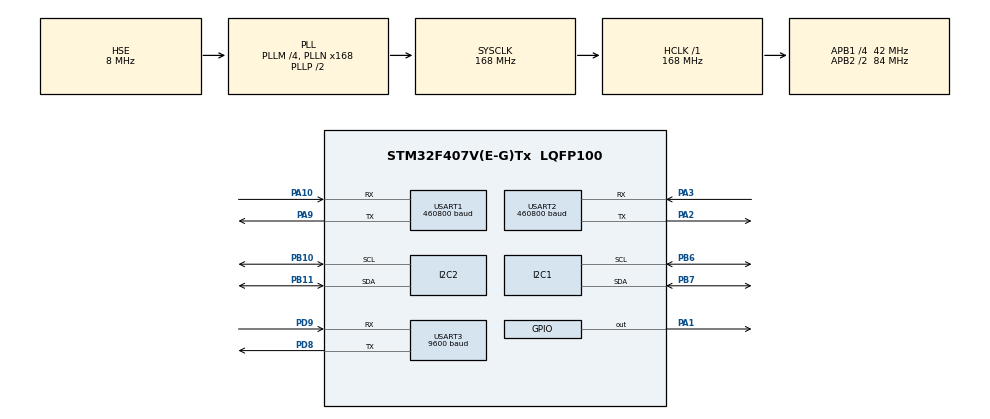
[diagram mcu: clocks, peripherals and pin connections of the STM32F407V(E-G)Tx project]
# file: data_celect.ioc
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Dma.Request0=USART2_RX
Dma.Request1=USART1_RX
Dma.USART1_RX.1.Direction=DMA_PERIPH_TO_MEMORY
Dma.USART1_RX.1.FIFOMode=DMA_FIFOMODE_DISABLE
Dma.USART1_RX.1.Instance=DMA2_Stream2
Dma.USART1_RX.1.MemDataAlignment=DMA_MDATAALIGN_BYTE
Dma.USART1_RX.1.MemInc=DMA_MINC_ENABLE
Dma.USART1_RX.1.Mode=DMA_CIRCULAR
Dma.USART1_RX.1.PeriphDataAlignment=DMA_PDATAALIGN_BYTE
Dma.USART1_RX.1.PeriphInc=DMA_PINC_DISABLE
Dma.USART1_RX.1.Priority=DMA_PRIORITY_MEDIUM
Dma.USART2_RX.0.Direction=DMA_PERIPH_TO_MEMORY
Dma.USART2_RX.0.FIFOMode=DMA_FIFOMODE_DISABLE
Dma.USART2_RX.0.Instance=DMA1_Stream5
Dma.USART2_RX.0.MemDataAlignment=DMA_MDATAALIGN_BYTE
Dma.USART2_RX.0.MemInc=DMA_MINC_ENABLE
Dma.USART2_RX.0.Mode=DMA_NORMAL
Dma.USART2_RX.0.PeriphDataAlignment=DMA_PDATAALIGN_BYTE
Dma.USART2_RX.0.PeriphInc=DMA_PINC_DISABLE
Dma.USART2_RX.0.Priority=DMA_PRIORITY_HIGH
Mcu.Family=STM32F4
Mcu.Name=STM32F407V(E-G)Tx
Mcu.Package=LQFP100
NVIC.DMA1_Stream5_IRQn=true\:0\:0\:false\:false\:true\:false\:true\:true
NVIC.DMA2_Stream2_IRQn=true\:0\:0\:false\:false\:true\:false\:true\:true
NVIC.PriorityGroup=NVIC_PRIORITYGROUP_4
NVIC.USART2_IRQn=true\:0\:0\:false\:false\:true\:true\:true\:true
PA1.Signal=GPIO_Output
PA10.Mode=Asynchronous
PA10.Signal=USART1_RX
PA13.Mode=Serial_Wire
PA13.Signal=SYS_JTMS-SWDIO
PA14.Mode=Serial_Wire
PA14.Signal=SYS_JTCK-SWCLK
PA2.Mode=Asynchronous
PA2.Signal=USART2_TX
PA3.Mode=Asynchronous
PA3.Signal=USART2_RX
PA9.Mode=Asynchronous
PA9.Signal=USART1_TX
PB10.Mode=I2C
PB10.Signal=I2C2_SCL
PB11.Mode=I2C
PB11.Signal=I2C2_SDA
PB6.Mode=I2C
PB6.Signal=I2C1_SCL
PB7.Mode=I2C
PB7.Signal=I2C1_SDA
PD8.Mode=Asynchronous
PD8.Signal=USART3_TX
PD9.Mode=Asynchronous
PD9.Signal=USART3_RX
PH0-OSC_IN.Mode=HSE-External-Oscillator
PH0-OSC_IN.Signal=RCC_OSC_IN
PH1-OSC_OUT.Mode=HSE-External-Oscillator
PH1-OSC_OUT.Signal=RCC_OSC_OUT
ProjectManager.HeapSize=0x200
ProjectManager.StackSize=0x400
ProjectManager.TargetToolchain=STM32CubeIDE
RCC.48MHZClocksFreq_Value=84000000
RCC.AHBFreq_Value=168000000
RCC.APB1CLKDivider=RCC_HCLK_DIV4
RCC.APB1Freq_Value=42000000
RCC.APB1TimFreq_Value=84000000
RCC.APB2CLKDivider=RCC_HCLK_DIV2
RCC.APB2Freq_Value=84000000
RCC.APB2TimFreq_Value=168000000
RCC.CortexFreq_Value=168000000
RCC.HCLKFreq_Value=168000000
RCC.HSE_VALUE=8000000
RCC.HSI_VALUE=16000000
RCC.LSE_VALUE=32768
RCC.PLLM=4
RCC.PLLN=168
RCC.PLLSourceVirtual=RCC_PLLSOURCE_HSE
RCC.SYSCLKFreq_VALUE=168000000
RCC.SYSCLKSource=RCC_SYSCLKSOURCE_PLLCLK
RCC.VCOOutputFreq_Value=336000000
USART1.BaudRate=460800
USART1.VirtualMode=VM_ASYNC
USART2.BaudRate=460800
USART2.VirtualMode=VM_ASYNC
USART3.BaudRate=9600
USART3.VirtualMode=VM_ASYNC
board=custom

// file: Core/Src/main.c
/* USER CODE BEGIN Header */
/**
  ******************************************************************************
  * @file           : main.c
  * @brief          : Main program body
  ******************************************************************************
  * @attention
  *
  * Copyright (c) 2026 STMicroelectronics.
  * All rights reserved.
  *
  * This software is licensed under terms that can be found in the LICENSE file
  * in the root directory of this software component.
  * If no LICENSE file comes with this software, it is provided AS-IS.
  *
  ******************************************************************************
  */
/* USER CODE END Header */
#include "main.h"

/* USER CODE BEGIN Includes */
#include "arm_angle.h"
#include "collection_timing.h"
#include "control_command.h"
#include "control_mode_supervisor.h"
#include "dwj_reader.h"
#include "ftepc_rs485.h"
#include "imu_oled_format.h"
#include "imu_parser.h"
#include "joystick_servo_map.h"
#include "motion_telemetry.h"
#include "oled_ssd1306.h"
#include "pca9685.h"
#include "safety_limits.h"
#include "stick_receiver.h"
#include "status_led.h"
#include "velocity_control.h"

#include <math.h>
#include <stdio.h>
#include <string.h>

/* USER CODE END Includes */

/* USER CODE BEGIN PTD */
typedef enum
{
  RS485_IDLE = 0,
  RS485_TX_BUSY,
  RS485_RX_BUSY
} Rs485PollState;

typedef enum
{
  DWJ_IDLE = 0,
  DWJ_WAIT_BIG_ARM,
  DWJ_WAIT_SMALL_ARM
} DwjPollState;

/* USER CODE END PTD */

/* USER CODE BEGIN PD */
#define USART2_DMA_RX_SIZE 512U
#define IMU_DMA_RX_SIZE 8192U
/* Receive-age deadline, not a mechanical angle or velocity limit. */
#define IMU_RECEIVE_TIMEOUT_MS 500U
#define ENCODER485_SLAVE_ADDRESS 1U
#define ENCODER485_TIMEOUT_MS 50U
#define ENCODER485_REQUEST_LEN 8U
#define ENCODER485_RESPONSE_LEN 17U
#define ENCODER485_PULSE_START_REGISTER 0x0030U
#define ENCODER485_THREE_PULSE_REGISTERS 0x0006U
#define ENCODER485_FUNCTION_READ_HOLDING 0x03U
#define OLED_UPDATE_PERIOD_MS 500U
#define OLED_PAGE_PERIOD_MS 1500U
#define OLED_PAGE_COUNT 2U
#define OLED_LINE_SIZE 22U
#define TELEMETRY_BUFFER_SIZE 1024U
#define DWJ_POLL_PERIOD_MS 50U
#define TELEMETRY_FAULT_RS485 (1UL << 0)
#define TELEMETRY_FAULT_DWJ (1UL << 1)
#define TELEMETRY_FAULT_IMU (1UL << 2)
#define TELEMETRY_FAULT_PCA9685 (1UL << 3)
#define TELEMETRY_FAULT_COMMAND_TIMEOUT (1UL << 4)

/* USER CODE END PD */

I2C_HandleTypeDef hi2c1;
I2C_HandleTypeDef hi2c2;

UART_HandleTypeDef huart1;
UART_HandleTypeDef huart2;
UART_HandleTypeDef huart3;
DMA_HandleTypeDef hdma_usart1_rx;
DMA_HandleTypeDef hdma_usart2_rx;

/* USER CODE BEGIN PV */
static uint8_t usart2_dma_rx[USART2_DMA_RX_SIZE];
static uint8_t imu_dma_rx[IMU_DMA_RX_SIZE];
static uint16_t imu_dma_last_pos;
static StickReceiver stick_receiver;
static ControlCommand latest_control_command;
static ControlModeSupervisor control_mode_supervisor;
static VelocityControl velocity_controller;
static VelocityControlOutput velocity_output;
static uint32_t manual_limit_mask;
static uint8_t velocity_feedback_ready;
static uint8_t control_command_active;
static volatile uint8_t usart2_restart_requested;
static StatusLedTimer status_led_timer;
static JoystickServoTargets servo_targets;
static uint32_t last_valid_control_tick;
static uint32_t last_control_tick;
static uint32_t control_seq;
static uint32_t command_rx_seq;
static uint32_t command_source_stamp_ms;
static uint32_t command_received_stamp_ms;
static uint32_t invalid_command_frames;
static uint8_t control_received;
static uint8_t control_failsafe_active;
static uint8_t pca9685_ready;
static uint8_t pca_output_ok;
static ImuParser imu_parser;
static ImuSample imu_latest;
static uint8_t imu_sample_valid;
static float imu_yaw_deg;
static float imu_yaw_rate_deg_s;
static uint64_t imu_last_ts_ms;
static uint8_t imu_yaw_time_valid;
static uint32_t imu_last_received_tick;
static Ftepc485_Data encoder_data;
static Ftepc485_Status encoder_status = FTEPC485_ERROR_UART;
static int32_t encoder_last_pulse[FTEPC485_CHANNEL_COUNT];
static uint32_t encoder_last_sample_tick;
static uint8_t encoder_has_last_sample;
static int32_t small_arm_angle_hundredths_deg;
static uint8_t rs485_request[ENCODER485_REQUEST_LEN];
static uint8_t rs485_response[ENCODER485_RESPONSE_LEN];
static Rs485PollState rs485_state;
static uint32_t rs485_state_tick;
static uint32_t last_encoder_poll_tick;
static uint8_t oled_ready;
static uint8_t oled_page;
static uint8_t oled_refresh_page;
static uint32_t last_oled_update_tick;
static uint32_t last_oled_page_tick;
static MotionTelemetry motion_telemetry;
static char telemetry_tx_buffer[TELEMETRY_BUFFER_SIZE];
static uint8_t telemetry_header_sent;
static volatile uint8_t telemetry_tx_busy;
static uint32_t last_telemetry_tick;
static volatile uint32_t sensor_seq;
static volatile uint32_t sensor_stamp_ms;
static uint32_t last_sent_sensor_seq;
static DwjReadings dwj_readings;
static HAL_StatusTypeDef dwj_status = HAL_ERROR;
static DwjPollState dwj_state;
static uint32_t dwj_state_tick;
static uint32_t last_dwj_poll_tick;

/* USER CODE END PV */

void SystemClock_Config(void);
static void MX_GPIO_Init(void);
static void MX_DMA_Init(void);
static void MX_USART2_UART_Init(void);
static void MX_USART3_UART_Init(void);
static void MX_I2C1_Init(void);
static void MX_USART1_UART_Init(void);
static void MX_I2C2_Init(void);
/* USER CODE BEGIN PFP */
static HAL_StatusTypeDef USART2_StartReceiveToIdle(void);
static HAL_StatusTypeDef ApplyServoTargets(const JoystickServoTargets *targets);
static void EnterSafeZero(void);
static void ProcessReceivedFrames(void);
static void ServiceControl20Hz(void);
static void Imu_RxStart(void);
static void Imu_UpdateYawFromSample(void);
static void ServiceImu(void);
static void ServiceEncoder485(void);
static void ServiceDwjReader(void);
static void ServiceOled(void);
static void ServiceTelemetry(void);
static void Rs485_StartPoll(uint32_t now_ms);
static void Rs485_HandleResponse(uint32_t now_ms);
static void FormatFixedHundredths(int32_t value, char *buffer,
                                  size_t buffer_size);
static void FillMotionTelemetry(MotionTelemetry *telemetry, uint32_t now_ms);

/* USER CODE END PFP */

/* USER CODE BEGIN 0 */
static HAL_StatusTypeDef USART2_StartReceiveToIdle(void)
{
  HAL_StatusTypeDef status;

  status = HAL_UARTEx_ReceiveToIdle_DMA(&huart2, usart2_dma_rx,
                                       sizeof(usart2_dma_rx));
  if (status == HAL_OK)
  {
    /* A complete frame is detected by IDLE or DMA transfer-complete. */
    __HAL_DMA_DISABLE_IT(huart2.hdmarx, DMA_IT_HT);
  }
  return status;
}

static HAL_StatusTypeDef ApplyServoTargets(const JoystickServoTargets *targets)
{
  uint8_t channel;

  if (targets == NULL)
  {
    return HAL_ERROR;
  }

  if (pca9685_ready == 0U)
  {
    if (Pca9685_Init(&hi2c1) != HAL_OK)
    {
      return HAL_ERROR;
    }
    pca9685_ready = 1U;
  }

  for (channel = 0U; channel < JOYSTICK_PCA_CHANNEL_COUNT; ++channel)
  {
    if (!JoystickServoMap_IsActiveChannel(channel))
    {
      continue;
    }
    if (Pca9685_SetPwm(&hi2c1, channel, 0U,
                       targets->pwm_count[channel]) != HAL_OK)
    {
      pca9685_ready = 0U;
      return HAL_ERROR;
    }
  }
  return HAL_OK;
}

static void EnterSafeZero(void)
{
  ControlModeSupervisor_EnterSafeZero(&control_mode_supervisor);
  VelocityControl_Reset(&velocity_controller);
  memset(&velocity_output, 0, sizeof(velocity_output));
  velocity_feedback_ready = 0U;
  manual_limit_mask = 0U;
  control_command_active = 0U;
  control_failsafe_active = 0U;
}

static uint8_t ControlCommandIsValid(uint32_t now_ms)
{
  return ((control_command_active != 0U) &&
          !JoystickServoMap_IsTimedOut(now_ms, last_valid_control_tick))
             ? 1U
             : 0U;
}

static void ProcessReceivedFrames(void)
{
  char frame[STICK_FRAME_MAX_LEN];
  ControlCommand parsed_command;

  while (StickReceiver_Pop(&stick_receiver, frame, sizeof(frame)))
  {
    if (ControlCommand_ParseJson(frame, &parsed_command))
    {
      uint32_t now_ms = HAL_GetTick();
      ControlModeDecision decision;

      if (!StickReceiver_IsNewSequence(parsed_command.command_seq,
                                       command_rx_seq,
                                       control_received != 0U))
      {
        invalid_command_frames++;
        EnterSafeZero();
        continue;
      }

      decision = ControlModeSupervisor_Apply(&control_mode_supervisor,
                                             &parsed_command);
      if (!decision.accepted)
      {
        invalid_command_frames++;
        EnterSafeZero();
        continue;
      }

      if (decision.mode_changed)
      {
        VelocityControl_Reset(&velocity_controller);
        memset(&velocity_output, 0, sizeof(velocity_output));
        manual_limit_mask = 0U;
      }
      latest_control_command = parsed_command;
      command_rx_seq = parsed_command.command_seq;
      command_source_stamp_ms = parsed_command.command_source_stamp_ms;
      command_received_stamp_ms = now_ms;
      last_valid_control_tick = now_ms;
      control_received = 1U;
      control_command_active = 1U;
    }
    else
    {
      invalid_command_frames++;
      EnterSafeZero();
    }
  }
}

static void ServiceControl20Hz(void)
{
  uint32_t now_ms = HAL_GetTick();
  uint32_t elapsed_ms;
  HAL_StatusTypeDef i2c_status;
  uint8_t command_valid;

  if ((uint32_t)(now_ms - last_control_tick) <
      COLLECTION_CONTROL_PERIOD_MS)
  {
    return;
  }
  elapsed_ms = (uint32_t)(now_ms - last_control_tick);
  last_control_tick = now_ms;
  control_seq++;
  command_valid = ControlCommandIsValid(now_ms);
  velocity_feedback_ready = 0U;
  manual_limit_mask = 0U;

  if ((command_valid != 0U) &&
      (control_mode_supervisor.active_mode == CONTROL_MODE_MANUAL_ACTION) &&
      (ControlCommand_IsZero(&latest_control_command) ||
       ((encoder_status == FTEPC485_OK) && (imu_sample_valid != 0U))))
  {
    AxisControlSample manual_action = {
        latest_control_command.axis.swing,
        latest_control_command.axis.bucket,
        latest_control_command.axis.stick,
        latest_control_command.axis.boom};

    if (!ControlCommand_IsZero(&latest_control_command))
    {
      SafetyLimitsFeedback limits_feedback;

      limits_feedback.boom_length_hundredths_mm =
          encoder_data.length_hundredths_mm[0];
      limits_feedback.stick_length_hundredths_mm =
          encoder_data.length_hundredths_mm[1];
      limits_feedback.bucket_length_hundredths_mm =
          encoder_data.length_hundredths_mm[2];
      limits_feedback.yaw_deg = imu_yaw_deg;
      manual_limit_mask = SafetyLimits_ApplyManual(&manual_action, &limits_feedback);
    }
    JoystickServoMap_Compute(manual_action.x1, manual_action.x2,
                             manual_action.y1, manual_action.y2,
                             latest_control_command.manual_z1,
                             latest_control_command.manual_z2,
                             &servo_targets);
    i2c_status = ApplyServoTargets(&servo_targets);
    control_failsafe_active = 0U;
  }
  else if ((command_valid != 0U) &&
           (control_mode_supervisor.active_mode ==
            CONTROL_MODE_VELOCITY_REFERENCE) &&
           (encoder_status == FTEPC485_OK) &&
           (imu_sample_valid != 0U))
  {
    VelocityControlFeedback feedback;

    feedback.boom_length_hundredths_mm =
        encoder_data.length_hundredths_mm[0];
    feedback.stick_length_hundredths_mm =
        encoder_data.length_hundredths_mm[1];
    feedback.bucket_length_hundredths_mm =
        encoder_data.length_hundredths_mm[2];
    feedback.boom_speed_hundredths_mm_s =
        encoder_data.speed_hundredths_mm_s[0];
    feedback.stick_speed_hundredths_mm_s =
        encoder_data.speed_hundredths_mm_s[1];
    feedback.bucket_speed_hundredths_mm_s =
        encoder_data.speed_hundredths_mm_s[2];
    feedback.swing_angle_deg = imu_yaw_deg;
    feedback.swing_speed_deg_s = imu_yaw_rate_deg_s;

    if (VelocityControl_Update(&velocity_controller,
                               &latest_control_command.axis,
                               &feedback,
                               (float)elapsed_ms / 1000.0f,
                               &velocity_output))
    {
      VelocityServoMap_Compute(velocity_output.valve_action.boom,
                               velocity_output.valve_action.stick,
                               velocity_output.valve_action.bucket,
                               velocity_output.valve_action.swing, &servo_targets);
      i2c_status = ApplyServoTargets(&servo_targets);
      velocity_feedback_ready = 1U;
      control_failsafe_active = 0U;
    }
    else
    {
      VelocityControl_Reset(&velocity_controller);
      JoystickServoMap_SetNeutral(&servo_targets);
      i2c_status = ApplyServoTargets(&servo_targets);
      control_failsafe_active = 1U;
    }
  }
  /* A failed neutral write must be retried; PCA retains its previous PWM. */
  else if ((control_failsafe_active == 0U) || (pca_output_ok == 0U))
  {
    if (command_valid == 0U)
    {
      ControlModeSupervisor_EnterSafeZero(&control_mode_supervisor);
    }
    VelocityControl_Reset(&velocity_controller);
    memset(&velocity_output, 0, sizeof(velocity_output));
    JoystickServoMap_SetNeutral(&servo_targets);
    i2c_status = ApplyServoTargets(&servo_targets);
    control_failsafe_active = 1U;
  }
  else
  {
    i2c_status = (pca_output_ok != 0U) ? HAL_OK : HAL_ERROR;
  }
  pca_output_ok = (i2c_status == HAL_OK) ? 1U : 0U;
}

static void Imu_NormalizeYaw(void)
{
  /* Constant-time reduction also handles large finite corrupted samples. */
  imu_yaw_deg = fmodf(imu_yaw_deg, 360.0f);
  if (imu_yaw_deg < 0.0f)
  {
    imu_yaw_deg += 360.0f;
  }
}

static void Imu_UpdateYawFromSample(void)
{
  imu_yaw_rate_deg_s = imu_latest.gz;

  if (imu_yaw_time_valid != 0U)
  {
    uint64_t elapsed_ms = imu_latest.ts_ms - imu_last_ts_ms;

    if ((imu_latest.ts_ms > imu_last_ts_ms) && (elapsed_ms < 1000U))
    {
      float next_yaw = imu_yaw_deg +
                       imu_yaw_rate_deg_s * ((float)elapsed_ms / 1000.0f);
      if (!isfinite(next_yaw))
      {
        imu_sample_valid = 0U;
        imu_yaw_time_valid = 0U;
        imu_yaw_rate_deg_s = 0.0f;
        return;
      }
      imu_yaw_deg = next_yaw;
      Imu_NormalizeYaw();
    }
  }

  imu_last_ts_ms = imu_latest.ts_ms;
  imu_yaw_time_valid = 1U;
}

static void Imu_RxStart(void)
{
  imu_sample_valid = 0U;
  imu_yaw_deg = 0.0f;
  imu_yaw_rate_deg_s = 0.0f;
  imu_last_ts_ms = 0U;
  imu_yaw_time_valid = 0U;
  imu_last_received_tick = HAL_GetTick();
  imu_dma_last_pos = 0U;
  imu_parser_init(&imu_parser);

  if (HAL_UART_Receive_DMA(&huart1, imu_dma_rx, sizeof(imu_dma_rx)) == HAL_OK)
  {
    __HAL_DMA_DISABLE_IT(huart1.hdmarx, DMA_IT_HT);
    __HAL_DMA_DISABLE_IT(huart1.hdmarx, DMA_IT_TC);
  }
}

static void Imu_FeedBytes(const uint8_t *data, uint16_t length)
{
  if ((data == NULL) || (length == 0U))
  {
    return;
  }

  if (imu_parser_feed(&imu_parser, data, length, &imu_latest) != 0U)
  {
    if (!isfinite(imu_latest.gz))
    {
      imu_sample_valid = 0U;
      imu_yaw_time_valid = 0U;
      imu_yaw_rate_deg_s = 0.0f;
      return;
    }
    imu_sample_valid = 1U;
    Imu_UpdateYawFromSample();
    if (imu_sample_valid != 0U)
    {
      imu_last_received_tick = HAL_GetTick();
    }
  }
}

static void ServiceImu(void)
{
  uint16_t current_pos;

  if ((imu_sample_valid != 0U) &&
      ((uint32_t)(HAL_GetTick() - imu_last_received_tick) >=
       IMU_RECEIVE_TIMEOUT_MS))
  {
    imu_sample_valid = 0U;
    imu_yaw_time_valid = 0U;
    imu_yaw_rate_deg_s = 0.0f;
    /* Keep accumulated yaw; do not integrate across the missing interval. */
  }
  if (huart1.hdmarx == NULL)
  {
    return;
  }

  current_pos = (uint16_t)(sizeof(imu_dma_rx) -
                           __HAL_DMA_GET_COUNTER(huart1.hdmarx));
  if (current_pos == imu_dma_last_pos)
  {
    return;
  }

  if (current_pos > imu_dma_last_pos)
  {
    Imu_FeedBytes(&imu_dma_rx[imu_dma_last_pos],
                  (uint16_t)(current_pos - imu_dma_last_pos));
  }
  else
  {
    Imu_FeedBytes(&imu_dma_rx[imu_dma_last_pos],
                  (uint16_t)(sizeof(imu_dma_rx) - imu_dma_last_pos));
    if (current_pos > 0U)
    {
      Imu_FeedBytes(imu_dma_rx, current_pos);
    }
  }

  imu_dma_last_pos = current_pos;
}

static void FormatFixedHundredths(int32_t value, char *buffer,
                                  size_t buffer_size)
{
  uint32_t magnitude;
  const char *sign;

  if (buffer_size == 0U)
  {
    return;
  }

  if (value < 0)
  {
    sign = "-";
    magnitude = (uint32_t)(-(value + 1)) + 1U;
  }
  else
  {
    sign = "";
    magnitude = (uint32_t)value;
  }

  (void)snprintf(buffer, buffer_size, "%s%lu.%02lu", sign,
                 (unsigned long)(magnitude / 100U),
                 (unsigned long)(magnitude % 100U));
}

static void FormatFixedTenths(int32_t value, char *buffer, size_t buffer_size)
{
  uint32_t magnitude;
  const char *sign;

  if (buffer_size == 0U)
  {
    return;
  }

  if (value < 0)
  {
    sign = "-";
    magnitude = (uint32_t)(-(value + 1)) + 1U;
  }
  else
  {
    sign = "";
    magnitude = (uint32_t)value;
  }

  (void)snprintf(buffer, buffer_size, "%s%lu.%01lu", sign,
                 (unsigned long)(magnitude / 10U),
                 (unsigned long)(magnitude % 10U));
}

static void OledWriteFixedRow(uint8_t row,
                              const char *prefix,
                              int32_t value,
                              const char *suffix)
{
  char value_text[18];
  char line[OLED_LINE_SIZE];

  FormatFixedHundredths(value, value_text, sizeof(value_text));
  (void)snprintf(line, sizeof(line), "%s%s%s",
                 prefix, value_text, suffix);
  OledSsd1306_WriteText(row, 0, line);
}

static void OledWriteTenthsRow(uint8_t row,
                               const char *prefix,
                               int32_t value,
                               const char *suffix)
{
  char value_text[18];
  char line[OLED_LINE_SIZE];

  FormatFixedTenths(value, value_text, sizeof(value_text));
  (void)snprintf(line, sizeof(line), "%s%s%s",
                 prefix, value_text, suffix);
  OledSsd1306_WriteText(row, 0, line);
}

static void OledWriteLengthSpeedPage(void)
{
  OledSsd1306_WriteText(0, 0, "LEN mm");
  OledWriteFixedRow(1U, "B:", encoder_data.length_hundredths_mm[0], "");
  OledWriteFixedRow(2U, "S:", encoder_data.length_hundredths_mm[1], "");
  OledWriteFixedRow(3U, "K:", encoder_data.length_hundredths_mm[2], "");
  OledSsd1306_WriteText(4U, 0, "SPD mm/s");
  OledWriteFixedRow(5U, "B:", encoder_data.speed_hundredths_mm_s[0], "");
  OledWriteFixedRow(6U, "S:", encoder_data.speed_hundredths_mm_s[1], "");
  OledWriteFixedRow(7U, "K:", encoder_data.speed_hundredths_mm_s[2], "");
}

static void OledWriteAngleImuPage(void)
{
  char line[OLED_LINE_SIZE];

  OledSsd1306_WriteText(0, 0, "ANG deg");
  OledWriteTenthsRow(1U, "B:", dwj_readings.big_arm.angle_tenths_deg, "");
  OledWriteFixedRow(2U, "S:", small_arm_angle_hundredths_deg, "");
  OledWriteTenthsRow(3U, "K:", dwj_readings.bucket.angle_tenths_deg, "");

  if (imu_sample_valid == 0U)
  {
    OledSsd1306_WriteText(4U, 0, "yaw: --");
    OledSsd1306_WriteText(5U, 0, "rate: --");
  }
  else
  {
    imu_oled_format_row(line, sizeof(line), "yaw", imu_yaw_deg);
    OledSsd1306_WriteText(4U, 0, line);
    imu_oled_format_row(line, sizeof(line), "rate", imu_yaw_rate_deg_s);
    OledSsd1306_WriteText(5U, 0, line);
  }

  (void)snprintf(line, sizeof(line), "R:%u A:%u I:%u",
                 (unsigned int)((encoder_status == FTEPC485_OK) ? 1U : 0U),
                 (unsigned int)((dwj_status == HAL_OK) ? 1U : 0U),
                 (unsigned int)((imu_sample_valid != 0U) ? 1U : 0U));
  OledSsd1306_WriteText(6U, 0, line);
  (void)snprintf(line, sizeof(line), "B:%ld K:%ldmV",
                 (long)dwj_readings.big_arm.mv,
                 (long)dwj_readings.bucket.mv);
  OledSsd1306_WriteText(7U, 0, line);
}

static void Rs485_BuildReadRequest(void)
{
  uint16_t crc;

  rs485_request[0] = ENCODER485_SLAVE_ADDRESS;
  rs485_request[1] = ENCODER485_FUNCTION_READ_HOLDING;
  rs485_request[2] = (uint8_t)(ENCODER485_PULSE_START_REGISTER >> 8);
  rs485_request[3] = (uint8_t)ENCODER485_PULSE_START_REGISTER;
  rs485_request[4] = (uint8_t)(ENCODER485_THREE_PULSE_REGISTERS >> 8);
  rs485_request[5] = (uint8_t)ENCODER485_THREE_PULSE_REGISTERS;
  crc = Ftepc485_Crc16(rs485_request, 6U);
  rs485_request[6] = (uint8_t)crc;
  rs485_request[7] = (uint8_t)(crc >> 8);
}

static void Rs485_StartPoll(uint32_t now_ms)
{
  if (rs485_state != RS485_IDLE)
  {
    return;
  }

  Rs485_BuildReadRequest();
  if (HAL_UART_Transmit_IT(&huart3, rs485_request,
                           sizeof(rs485_request)) == HAL_OK)
  {
    rs485_state = RS485_TX_BUSY;
    rs485_state_tick = now_ms;
  }
  else
  {
    encoder_status = FTEPC485_ERROR_UART;
  }
}

static void Rs485_ApplyPulses(const int32_t pulses[FTEPC485_CHANNEL_COUNT],
                              uint32_t now_ms)
{
  Ftepc485_ConvertPulses(pulses, &encoder_data);

  if (encoder_has_last_sample == 0U)
  {
    for (uint8_t channel = 0U; channel < FTEPC485_CHANNEL_COUNT; ++channel)
    {
      encoder_data.speed_hundredths_mm_s[channel] = 0;
      encoder_last_pulse[channel] = pulses[channel];
    }
    encoder_last_sample_tick = now_ms;
    encoder_has_last_sample = 1U;
  }
  else
  {
    uint32_t delta_ms = now_ms - encoder_last_sample_tick;
    if (delta_ms == 0U)
    {
      delta_ms = 1U;
    }

    for (uint8_t channel = 0U; channel < FTEPC485_CHANNEL_COUNT; ++channel)
    {
      int32_t delta_pulse = pulses[channel] - encoder_last_pulse[channel];
      encoder_data.speed_hundredths_mm_s[channel] =
          Ftepc485_DeltaToSpeedHundredthsMmS(channel,
                                             delta_pulse,
                                             delta_ms);
      encoder_last_pulse[channel] = pulses[channel];
    }
    encoder_last_sample_tick = now_ms;
  }

  small_arm_angle_hundredths_deg =
      ArmAngle_Channel2HundredthsDeg(encoder_data.length_hundredths_mm[1]);
}

static void Rs485_HandleResponse(uint32_t now_ms)
{
  int32_t pulses[FTEPC485_CHANNEL_COUNT];

  encoder_status = Ftepc485_ParseThreePulseResponse(
      rs485_response,
      sizeof(rs485_response),
      ENCODER485_SLAVE_ADDRESS,
      pulses);
  if (encoder_status == FTEPC485_OK)
  {
    Rs485_ApplyPulses(pulses, now_ms);
    sensor_stamp_ms = now_ms;
    sensor_seq++;
  }
}

static void ServiceEncoder485(void)
{
  uint32_t now_ms = HAL_GetTick();

  if ((rs485_state != RS485_IDLE) &&
      ((uint32_t)(now_ms - rs485_state_tick) >= ENCODER485_TIMEOUT_MS))
  {
    (void)HAL_UART_Abort(&huart3);
    rs485_state = RS485_IDLE;
    encoder_status = FTEPC485_ERROR_UART;
  }

  if ((uint32_t)(now_ms - last_encoder_poll_tick) >=
      COLLECTION_SENSOR_PERIOD_MS)
  {
    last_encoder_poll_tick = now_ms;
    Rs485_StartPoll(now_ms);
  }
}

static void ServiceDwjReader(void)
{
  uint32_t now_ms = HAL_GetTick();
  int16_t raw;
  int32_t mv;
  HAL_StatusTypeDef read_status;

  if (dwj_state == DWJ_IDLE)
  {
    if ((uint32_t)(now_ms - last_dwj_poll_tick) < DWJ_POLL_PERIOD_MS)
    {
      return;
    }

    last_dwj_poll_tick = now_ms;
    if (Dwj_StartConversion(&hi2c1, DWJ_ADS1115_CHANNEL_AIN0) == HAL_OK)
    {
      dwj_state = DWJ_WAIT_BIG_ARM;
      dwj_state_tick = HAL_GetTick();
    }
    else
    {
      dwj_status = HAL_ERROR;
    }
    return;
  }

  if ((uint32_t)(now_ms - dwj_state_tick) < DWJ_ADS1115_CONVERSION_DELAY_MS)
  {
    return;
  }

  if ((uint32_t)(now_ms - dwj_state_tick) >= DWJ_ADS1115_CONVERSION_TIMEOUT_MS)
  {
    dwj_status = HAL_ERROR;
    dwj_state = DWJ_IDLE;
    return;
  }

  read_status = Dwj_ReadConversionRawMv(&hi2c1,
      dwj_state == DWJ_WAIT_BIG_ARM ? DWJ_ADS1115_CHANNEL_AIN0 : DWJ_ADS1115_CHANNEL_AIN1,
      &raw, &mv);
  if ((uint32_t)(HAL_GetTick() - dwj_state_tick) >= DWJ_ADS1115_CONVERSION_TIMEOUT_MS)
  {
    read_status = HAL_ERROR;
  }
  if (read_status == HAL_BUSY) { return; }

  if (dwj_state == DWJ_WAIT_BIG_ARM)
  {
    if (read_status != HAL_OK)
    {
      dwj_state = DWJ_IDLE;
      dwj_status = HAL_ERROR;
      return;
    }

    Dwj_UpdateBigArmReading(raw, mv, &dwj_readings.big_arm);
    if (Dwj_StartConversion(&hi2c1, DWJ_ADS1115_CHANNEL_AIN1) == HAL_OK)
    {
      dwj_state = DWJ_WAIT_SMALL_ARM;
      dwj_state_tick = HAL_GetTick();
    }
    else
    {
      dwj_state = DWJ_IDLE;
      dwj_status = HAL_ERROR;
    }
    return;
  }

  if (dwj_state == DWJ_WAIT_SMALL_ARM)
  {
    if (read_status == HAL_OK)
    {
      Dwj_UpdateBucketReading(raw, mv, &dwj_readings.bucket);
      dwj_status = HAL_OK;
    }
    else
    {
      dwj_status = HAL_ERROR;
    }
    dwj_state = DWJ_IDLE;
  }
}

static void ServiceOled(void)
{
  uint32_t now_ms = HAL_GetTick();

  if (oled_ready == 0U)
  {
    return;
  }

  if ((uint32_t)(now_ms - last_oled_page_tick) >= OLED_PAGE_PERIOD_MS)
  {
    last_oled_page_tick = now_ms;
    oled_page = (uint8_t)((oled_page + 1U) % OLED_PAGE_COUNT);
  }

  if (oled_refresh_page >= OLED_SSD1306_ROWS)
  {
    if ((uint32_t)(now_ms - last_oled_update_tick) < OLED_UPDATE_PERIOD_MS)
    {
      return;
    }
    last_oled_update_tick = now_ms;

    OledSsd1306_Clear();
    if (oled_page == 0U)
    {
      OledWriteLengthSpeedPage();
    }
    else
    {
      OledWriteAngleImuPage();
    }
    oled_refresh_page = 0U;
  }

  if (OledSsd1306_UpdatePage(oled_refresh_page) != HAL_OK)
  {
    oled_ready = 0U;
    oled_refresh_page = OLED_SSD1306_ROWS;
    return;
  }
  oled_refresh_page++;
}

static void FillMotionTelemetry(MotionTelemetry *telemetry, uint32_t now_ms)
{
  ManualAction action;
  Ftepc485_Data encoder_snapshot;
  Ftepc485_Status encoder_snapshot_status;
  uint32_t sensor_sequence_snapshot;
  uint32_t sensor_stamp_snapshot;
  int32_t arm_angle_snapshot;
  uint32_t saved_primask;
  uint8_t command_valid;
  uint8_t command_timed_out;
  uint32_t fault_flags = 0U;

  if (telemetry == NULL)
  {
    return;
  }

  /* USART3 completes the encoder sample in an ISR. Copy this group together;
   * do not mix an old sequence with a new timestamp, position or velocity.
   * Only raw copies run masked: conversions, formatting and UART stay outside.
   * Restore the caller's interrupt state rather than unconditionally enabling. */
  saved_primask = __get_PRIMASK();
  __disable_irq();
  sensor_sequence_snapshot = sensor_seq;
  sensor_stamp_snapshot = sensor_stamp_ms;
  encoder_snapshot = encoder_data;
  arm_angle_snapshot = small_arm_angle_hundredths_deg;
  encoder_snapshot_status = encoder_status;
  __set_PRIMASK(saved_primask);

  command_valid = ControlCommandIsValid(now_ms);
  /* Also marks a fail-closed rejected command so a new serial owner can
   * distinguish command_rx_seq history from the boot value and resume safely. */
  command_timed_out = ((control_received != 0U) && (command_valid == 0U))
                          ? 1U
                          : 0U;

  telemetry->control_seq = control_seq;
  telemetry->control_stamp_ms = last_control_tick;
  telemetry->sensor_seq = sensor_sequence_snapshot;
  telemetry->sensor_stamp_ms = sensor_stamp_snapshot;
  telemetry->sensor_is_new = (sensor_sequence_snapshot != last_sent_sensor_seq) ? 1U : 0U;
  telemetry->command_rx_seq = command_rx_seq;
  telemetry->command_source_stamp_ms = command_source_stamp_ms;
  telemetry->command_received_stamp_ms = command_received_stamp_ms;
  telemetry->command_age_ms = (control_received != 0U)
                                  ? (now_ms - command_received_stamp_ms)
                                  : 0U;
  if ((command_valid != 0U) &&
      (control_mode_supervisor.active_mode == CONTROL_MODE_MANUAL_ACTION))
  {
    ManualAction_FromStick(latest_control_command.axis.swing,
                           latest_control_command.axis.bucket,
                           latest_control_command.axis.stick,
                           latest_control_command.axis.boom, &action);
  }
  else
  {
    ManualAction_SetZero(&action);
  }
  telemetry->command_action_boom = action.boom;
  telemetry->command_action_stick = action.stick;
  telemetry->command_action_bucket = action.bucket;
  telemetry->command_action_swing = action.swing;

  telemetry->boom_pos_mm =
      (float)encoder_snapshot.length_hundredths_mm[0] / 100.0f;
  telemetry->stick_pos_mm =
      (float)encoder_snapshot.length_hundredths_mm[1] / 100.0f;
  telemetry->bucket_pos_mm =
      (float)encoder_snapshot.length_hundredths_mm[2] / 100.0f;
  telemetry->boom_vel_mmps =
      (float)encoder_snapshot.speed_hundredths_mm_s[0] / 100.0f;
  telemetry->stick_vel_mmps =
      (float)encoder_snapshot.speed_hundredths_mm_s[1] / 100.0f;
  telemetry->bucket_vel_mmps =
      (float)encoder_snapshot.speed_hundredths_mm_s[2] / 100.0f;
  telemetry->boom_angle_deg =
      (float)dwj_readings.big_arm.angle_tenths_deg / 10.0f;
  telemetry->arm_angle_deg =
      (float)arm_angle_snapshot / 100.0f;
  telemetry->bucket_angle_deg =
      (float)dwj_readings.bucket.angle_tenths_deg / 10.0f;
  telemetry->swing_angle_deg = imu_yaw_deg;
  telemetry->swing_vel_degps = imu_yaw_rate_deg_s;

  if ((command_valid != 0U) &&
      (control_mode_supervisor.active_mode ==
       CONTROL_MODE_VELOCITY_REFERENCE))
  {
    telemetry->boom_v_ref_mmps = velocity_output.target.boom;
    telemetry->stick_v_ref_mmps = velocity_output.target.stick;
    telemetry->bucket_v_ref_mmps = -velocity_output.target.bucket;
    telemetry->swing_v_ref_degps = velocity_output.target.swing;
    telemetry->pid_out_boom = velocity_output.valve_action.boom;
    telemetry->pid_out_stick = velocity_output.valve_action.stick;
    telemetry->pid_out_bucket = velocity_output.valve_action.bucket;
    telemetry->pid_out_swing = velocity_output.valve_action.swing;
  }
  else
  {
    telemetry->boom_v_ref_mmps = 0.0f;
    telemetry->stick_v_ref_mmps = 0.0f;
    telemetry->bucket_v_ref_mmps = 0.0f;
    telemetry->swing_v_ref_degps = 0.0f;
    telemetry->pid_out_boom = 0.0f;
    telemetry->pid_out_stick = 0.0f;
    telemetry->pid_out_bucket = 0.0f;
    telemetry->pid_out_swing = 0.0f;
  }
  telemetry->valve_boom_deg = servo_targets.big_arm_deg;
  telemetry->valve_stick_deg = servo_targets.small_arm_deg;
  telemetry->valve_bucket_deg = servo_targets.bucket_deg;
  telemetry->swing_percent = servo_targets.swing_percent;
  telemetry->pump_percent = servo_targets.pump_percent;
  telemetry->pwm_boom = servo_targets.pwm_count[JOYSTICK_CHANNEL_BIG_ARM];
  telemetry->pwm_stick = servo_targets.pwm_count[JOYSTICK_CHANNEL_SMALL_ARM];
  telemetry->pwm_bucket = servo_targets.pwm_count[JOYSTICK_CHANNEL_BUCKET];
  telemetry->pwm_swing = servo_targets.pwm_count[JOYSTICK_CHANNEL_SWING];
  telemetry->pwm_pump = servo_targets.pwm_count[JOYSTICK_CHANNEL_PUMP];

  if ((command_valid != 0U) &&
      (control_mode_supervisor.active_mode == CONTROL_MODE_MANUAL_ACTION))
  {
    telemetry->control_mode = MOTION_CONTROL_MODE_MANUAL;
  }
  else if ((command_valid != 0U) &&
           (control_mode_supervisor.active_mode ==
            CONTROL_MODE_VELOCITY_REFERENCE))
  {
    telemetry->control_mode = MOTION_CONTROL_MODE_VELOCITY;
  }
  else
  {
    telemetry->control_mode = MOTION_CONTROL_MODE_SAFE_ZERO;
  }
  telemetry->homing_complete = 1U;
  telemetry->command_valid = command_valid;
  telemetry->command_timed_out = command_timed_out;
  telemetry->control_enabled =
      ((command_valid != 0U) && (pca_output_ok != 0U) &&
       (control_failsafe_active == 0U) &&
       ((control_mode_supervisor.active_mode == CONTROL_MODE_MANUAL_ACTION) ||
        ((control_mode_supervisor.active_mode ==
          CONTROL_MODE_VELOCITY_REFERENCE) &&
         (velocity_feedback_ready != 0U))))
          ? 1U
          : 0U;
  telemetry->estop = 0U; /* Reserved field retained for the 55-column wire layout. */
  telemetry->limit_mask =
      (control_mode_supervisor.active_mode ==
       CONTROL_MODE_VELOCITY_REFERENCE)
          ? velocity_output.limit_mask
          : ((control_mode_supervisor.active_mode == CONTROL_MODE_MANUAL_ACTION)
                 ? manual_limit_mask : 0U);
  telemetry->rs485_ok = (encoder_snapshot_status == FTEPC485_OK) ? 1U : 0U;
  telemetry->dwj_ok = (dwj_status == HAL_OK) ? 1U : 0U;
  telemetry->imu_ok = (imu_sample_valid != 0U) ? 1U : 0U;

  if (telemetry->rs485_ok == 0U)
  {
    fault_flags |= TELEMETRY_FAULT_RS485;
  }
  if (telemetry->dwj_ok == 0U)
  {
    fault_flags |= TELEMETRY_FAULT_DWJ;
  }
  if (telemetry->imu_ok == 0U)
  {
    fault_flags |= TELEMETRY_FAULT_IMU;
  }
  if (pca_output_ok == 0U)
  {
    fault_flags |= TELEMETRY_FAULT_PCA9685;
  }
  if (command_timed_out != 0U)
  {
    fault_flags |= TELEMETRY_FAULT_COMMAND_TIMEOUT;
  }
  telemetry->fault_flags = fault_flags;
  telemetry->dropped_command_frames =
      stick_receiver.dropped_frames + invalid_command_frames;
}

static void ServiceTelemetry(void)
{
  int length;
  uint32_t now_ms;

  if (telemetry_tx_busy != 0U)
  {
    return;
  }

  if (telemetry_header_sent == 0U)
  {
    length = MotionTelemetry_BuildHeader(telemetry_tx_buffer,
                                         sizeof(telemetry_tx_buffer));
    if (length <= 0)
    {
      return;
    }

    if (HAL_UART_Transmit_IT(&huart2,
                             (uint8_t *)telemetry_tx_buffer,
                             (uint16_t)length) == HAL_OK)
    {
      telemetry_tx_busy = 1U;
      telemetry_header_sent = 1U;
    }
    return;
  }

  now_ms = HAL_GetTick();
  if ((uint32_t)(now_ms - last_telemetry_tick) <
      COLLECTION_TELEMETRY_PERIOD_MS)
  {
    return;
  }
  last_telemetry_tick = now_ms;

  FillMotionTelemetry(&motion_telemetry, now_ms);
  length = MotionTelemetry_BuildRow(telemetry_tx_buffer,
                                    sizeof(telemetry_tx_buffer),
                                    &motion_telemetry);
  if (length <= 0)
  {
    return;
  }

  if (HAL_UART_Transmit_IT(&huart2,
                           (uint8_t *)telemetry_tx_buffer,
                           (uint16_t)length) == HAL_OK)
  {
    telemetry_tx_busy = 1U;
    last_sent_sensor_seq = motion_telemetry.sensor_seq;
  }
}

/* USER CODE END 0 */

int main(void)
{

  /* MCU Configuration--------------------------------------------------------*/

  /* Reset of all peripherals, Initializes the Flash interface and the Systick. */
  HAL_Init();

  /* Configure the system clock */
  SystemClock_Config();

  /* Initialize all configured peripherals */
  MX_GPIO_Init();
  MX_DMA_Init();
  MX_USART2_UART_Init();
  MX_USART3_UART_Init();
  MX_I2C1_Init();
  MX_USART1_UART_Init();
  MX_I2C2_Init();
  /* USER CODE BEGIN 2 */
  /* PA1 LED is active-low, so start from the off state. */
  HAL_GPIO_WritePin(GPIOA, GPIO_PIN_1, GPIO_PIN_SET);
  StatusLedTimer_Init(&status_led_timer, HAL_GetTick());
  StickReceiver_Init(&stick_receiver);
  ControlModeSupervisor_Init(&control_mode_supervisor);
  VelocityControl_Init(&velocity_controller);
  memset(&velocity_output, 0, sizeof(velocity_output));
  JoystickServoMap_SetNeutral(&servo_targets);
  pca_output_ok = (ApplyServoTargets(&servo_targets) == HAL_OK) ? 1U : 0U;
  control_failsafe_active = 1U;
  Imu_RxStart();
  oled_ready = (OledSsd1306_Init(&hi2c2) == HAL_OK) ? 1U : 0U;
  last_encoder_poll_tick = HAL_GetTick();
  last_oled_update_tick = HAL_GetTick();
  last_oled_page_tick = HAL_GetTick();
  oled_refresh_page = OLED_SSD1306_ROWS;
  last_telemetry_tick = HAL_GetTick();
  last_dwj_poll_tick = HAL_GetTick();
  last_control_tick = HAL_GetTick();
  if (USART2_StartReceiveToIdle() != HAL_OK)
  {
    Error_Handler();
  }

  /* USER CODE END 2 */

  /* Infinite loop */
  /* USER CODE BEGIN WHILE */
  while (1)
  {
    if (StatusLedTimer_Poll(&status_led_timer, HAL_GetTick()))
    {
      HAL_GPIO_TogglePin(GPIOA, GPIO_PIN_1);
    }

    ServiceImu();
    ProcessReceivedFrames();
    ServiceControl20Hz();
    ServiceEncoder485();
    ServiceDwjReader();
    ServiceImu();
    ServiceTelemetry();
    ServiceOled();

    if (usart2_restart_requested != 0U)
    {
      usart2_restart_requested = 0U;
      (void)HAL_UART_AbortReceive(&huart2);
      if (USART2_StartReceiveToIdle() != HAL_OK)
      {
        usart2_restart_requested = 1U;
      }
    }
    /* USER CODE END WHILE */

  }
}

void SystemClock_Config(void)
{
  RCC_OscInitTypeDef RCC_OscInitStruct = {0};
  RCC_ClkInitTypeDef RCC_ClkInitStruct = {0};

  /** Configure the main internal regulator output voltage
  */
  __HAL_RCC_PWR_CLK_ENABLE();
  __HAL_PWR_VOLTAGESCALING_CONFIG(PWR_REGULATOR_VOLTAGE_SCALE1);

  /** Initializes the RCC Oscillators according to the specified parameters
  * in the RCC_OscInitTypeDef structure.
  */
  RCC_OscInitStruct.OscillatorType = RCC_OSCILLATORTYPE_HSE;
  RCC_OscInitStruct.HSEState = RCC_HSE_ON;
  RCC_OscInitStruct.PLL.PLLState = RCC_PLL_ON;
  RCC_OscInitStruct.PLL.PLLSource = RCC_PLLSOURCE_HSE;
  RCC_OscInitStruct.PLL.PLLM = 4;
  RCC_OscInitStruct.PLL.PLLN = 168;
  RCC_OscInitStruct.PLL.PLLP = RCC_PLLP_DIV2;
  RCC_OscInitStruct.PLL.PLLQ = 4;
  if (HAL_RCC_OscConfig(&RCC_OscInitStruct) != HAL_OK)
  {
    Error_Handler();
  }

  /** Initializes the CPU, AHB and APB buses clocks
  */
  RCC_ClkInitStruct.ClockType = RCC_CLOCKTYPE_HCLK|RCC_CLOCKTYPE_SYSCLK
                              |RCC_CLOCKTYPE_PCLK1|RCC_CLOCKTYPE_PCLK2;
  RCC_ClkInitStruct.SYSCLKSource = RCC_SYSCLKSOURCE_PLLCLK;
  RCC_ClkInitStruct.AHBCLKDivider = RCC_SYSCLK_DIV1;
  RCC_ClkInitStruct.APB1CLKDivider = RCC_HCLK_DIV4;
  RCC_ClkInitStruct.APB2CLKDivider = RCC_HCLK_DIV2;

  if (HAL_RCC_ClockConfig(&RCC_ClkInitStruct, FLASH_LATENCY_5) != HAL_OK)
  {
    Error_Handler();
  }
}

static void MX_I2C1_Init(void)
{

  hi2c1.Instance = I2C1;
  hi2c1.Init.ClockSpeed = 100000;
  hi2c1.Init.DutyCycle = I2C_DUTYCYCLE_2;
  hi2c1.Init.OwnAddress1 = 0;
  hi2c1.Init.AddressingMode = I2C_ADDRESSINGMODE_7BIT;
  hi2c1.Init.DualAddressMode = I2C_DUALADDRESS_DISABLE;
  hi2c1.Init.OwnAddress2 = 0;
  hi2c1.Init.GeneralCallMode = I2C_GENERALCALL_DISABLE;
  hi2c1.Init.NoStretchMode = I2C_NOSTRETCH_DISABLE;
  if (HAL_I2C_Init(&hi2c1) != HAL_OK)
  {
    Error_Handler();
  }

}

static void MX_I2C2_Init(void)
{

  hi2c2.Instance = I2C2;
  hi2c2.Init.ClockSpeed = 100000;
  hi2c2.Init.DutyCycle = I2C_DUTYCYCLE_2;
  hi2c2.Init.OwnAddress1 = 0;
  hi2c2.Init.AddressingMode = I2C_ADDRESSINGMODE_7BIT;
  hi2c2.Init.DualAddressMode = I2C_DUALADDRESS_DISABLE;
  hi2c2.Init.OwnAddress2 = 0;
  hi2c2.Init.GeneralCallMode = I2C_GENERALCALL_DISABLE;
  hi2c2.Init.NoStretchMode = I2C_NOSTRETCH_DISABLE;
  if (HAL_I2C_Init(&hi2c2) != HAL_OK)
  {
    Error_Handler();
  }

}

static void MX_USART1_UART_Init(void)
{

  huart1.Instance = USART1;
  huart1.Init.BaudRate = 460800;
  huart1.Init.WordLength = UART_WORDLENGTH_8B;
  huart1.Init.StopBits = UART_STOPBITS_1;
  huart1.Init.Parity = UART_PARITY_NONE;
  huart1.Init.Mode = UART_MODE_TX_RX;
  huart1.Init.HwFlowCtl = UART_HWCONTROL_NONE;
  huart1.Init.OverSampling = UART_OVERSAMPLING_16;
  if (HAL_UART_Init(&huart1) != HAL_OK)
  {
    Error_Handler();
  }

}

static void MX_USART2_UART_Init(void)
{

  huart2.Instance = USART2;
  huart2.Init.BaudRate = 460800;
  huart2.Init.WordLength = UART_WORDLENGTH_8B;
  huart2.Init.StopBits = UART_STOPBITS_1;
  huart2.Init.Parity = UART_PARITY_NONE;
  huart2.Init.Mode = UART_MODE_TX_RX;
  huart2.Init.HwFlowCtl = UART_HWCONTROL_NONE;
  huart2.Init.OverSampling = UART_OVERSAMPLING_16;
  if (HAL_UART_Init(&huart2) != HAL_OK)
  {
    Error_Handler();
  }

}

static void MX_USART3_UART_Init(void)
{

  huart3.Instance = USART3;
  huart3.Init.BaudRate = 9600;
  huart3.Init.WordLength = UART_WORDLENGTH_8B;
  huart3.Init.StopBits = UART_STOPBITS_1;
  huart3.Init.Parity = UART_PARITY_NONE;
  huart3.Init.Mode = UART_MODE_TX_RX;
  huart3.Init.HwFlowCtl = UART_HWCONTROL_NONE;
  huart3.Init.OverSampling = UART_OVERSAMPLING_16;
  if (HAL_UART_Init(&huart3) != HAL_OK)
  {
    Error_Handler();
  }

}

static void MX_DMA_Init(void)
{

  /* DMA controller clock enable */
  __HAL_RCC_DMA1_CLK_ENABLE();
  __HAL_RCC_DMA2_CLK_ENABLE();

  /* DMA interrupt init */
  /* DMA1_Stream5_IRQn interrupt configuration */
  HAL_NVIC_SetPriority(DMA1_Stream5_IRQn, 0, 0);
  HAL_NVIC_EnableIRQ(DMA1_Stream5_IRQn);
  /* DMA2_Stream2_IRQn interrupt configuration */
  HAL_NVIC_SetPriority(DMA2_Stream2_IRQn, 0, 0);
  HAL_NVIC_EnableIRQ(DMA2_Stream2_IRQn);

}

static void MX_GPIO_Init(void)
{
  GPIO_InitTypeDef GPIO_InitStruct = {0};

  /* GPIO Ports Clock Enable */
  __HAL_RCC_GPIOH_CLK_ENABLE();
  __HAL_RCC_GPIOA_CLK_ENABLE();
  __HAL_RCC_GPIOB_CLK_ENABLE();
  __HAL_RCC_GPIOD_CLK_ENABLE();

  /*Configure GPIO pin Output Level */
  HAL_GPIO_WritePin(GPIOA, GPIO_PIN_1, GPIO_PIN_RESET);

  /*Configure GPIO pin : PA1 */
  GPIO_InitStruct.Pin = GPIO_PIN_1;
  GPIO_InitStruct.Mode = GPIO_MODE_OUTPUT_PP;
  GPIO_InitStruct.Pull = GPIO_NOPULL;
  GPIO_InitStruct.Speed = GPIO_SPEED_FREQ_LOW;
  HAL_GPIO_Init(GPIOA, &GPIO_InitStruct);

}

/* USER CODE BEGIN 4 */
void HAL_UART_RxCpltCallback(UART_HandleTypeDef *huart)
{
  if (huart->Instance == USART3)
  {
    Rs485_HandleResponse(HAL_GetTick());
    rs485_state = RS485_IDLE;
  }
}

void HAL_UART_TxCpltCallback(UART_HandleTypeDef *huart)
{
  if (huart->Instance == USART2)
  {
    telemetry_tx_busy = 0U;
  }
  else if ((huart->Instance == USART3) && (rs485_state == RS485_TX_BUSY))
  {
    if (HAL_UART_Receive_IT(&huart3, rs485_response,
                            sizeof(rs485_response)) == HAL_OK)
    {
      rs485_state = RS485_RX_BUSY;
      rs485_state_tick = HAL_GetTick();
    }
    else
    {
      rs485_state = RS485_IDLE;
      encoder_status = FTEPC485_ERROR_UART;
    }
  }
}

void HAL_UARTEx_RxEventCallback(UART_HandleTypeDef *huart, uint16_t Size)
{
  if (huart->Instance == USART2)
  {
    StickReceiver_FeedFromIsr(&stick_receiver, usart2_dma_rx, Size);
    if (USART2_StartReceiveToIdle() != HAL_OK)
    {
      usart2_restart_requested = 1U;
    }
  }
}

void HAL_UART_ErrorCallback(UART_HandleTypeDef *huart)
{
  if (huart->Instance == USART2)
  {
    telemetry_tx_busy = 0U;
    usart2_restart_requested = 1U;
  }
  else if (huart->Instance == USART1)
  {
    (void)HAL_UART_AbortReceive(&huart1);
    Imu_RxStart();
  }
  else if (huart->Instance == USART3)
  {
    (void)HAL_UART_Abort(&huart3);
    rs485_state = RS485_IDLE;
    encoder_status = FTEPC485_ERROR_UART;
  }
}

/* USER CODE END 4 */

void Error_Handler(void)
{
  __disable_irq();
  while (1)
  {
  }
}
